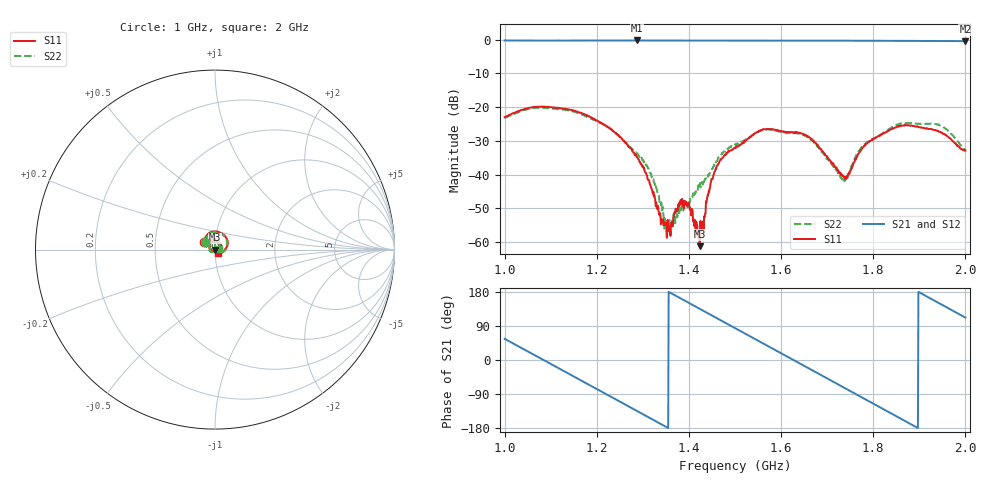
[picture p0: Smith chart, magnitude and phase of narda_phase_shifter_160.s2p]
#  HZ  S  DB  R  50.00
! Rohde & Schwarz Vector Network Analyzer
! Rohde-Schwarz,ZNB8-4Port,1311601044102961,2.82
! Created: UTC 3/4/2022, 4:07:57 PM
! freq[Hz]  db:S11  ang:S11  db:S21  ang:S21  db:S12  ang:S12  db:S22  ang:S22
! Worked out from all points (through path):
!   1001 points, 1 GHz to 2 GHz, reference 50 ohm
!   highest |S21| = -0.21 dB at 1.288 GHz (marker M1); lowest = -0.4 dB at 2 GHz (marker M2)
!   group delay of S21, straight-line fit = 1.84 ns
!   lowest |S11| = -61.3 dB at 1.423 GHz (marker M3), VSWR 1.00, Z = 50 - j0.0764 ohm
!   |S11| at or under -10 dB: start of sweep to end of sweep
!   |S22| runs from -57.0 to -20.1 dB; largest |S21 - S12| = 0.0025
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1e9  -22.96 145.9  -0.21 56.0  -0.20 56.0  -23.28 142.6
1.084e9  -19.82 88.0  -0.25 0.4  -0.23 0.4  -20.22 86.4
1.167e9  -21.83 29.5  -0.23 -54.6  -0.23 -54.6  -22.21 31.0
1.227e9  -26.21 -11.0  -0.22 -94.4  -0.21 -94.4  -26.13 -13.0
1.288e9  -34.93 -54.9  -0.21 -135.0  -0.22 -135.0  -33.71 -58.1
1.313e9  -41.62 -78.3  -0.23 -151.6  -0.21 -151.6  -38.21 -75.3
1.334e9  -50.94 -144.2  -0.23 -165.6  -0.21 -165.5  -45.82 -85.4
1.347e9  -54.75 145.8  -0.23 -174.2  -0.22 -174.2  -56.10 -97.9
1.358e9  -55.85 82.3  -0.23 178.5  -0.22 178.5  -53.21 -134.9
1.389e9  -50.07 -14.5  -0.23 157.9  -0.23 158.0  -48.94 -105.7
1.423e9  -61.26 -61.9  -0.23 135.3  -0.23 135.3  -43.62 -75.7
1.458e9  -38.29 -142.8  -0.23 112.1  -0.23 112.1  -36.81 -126.1
1.5e9  -32.10 177.0  -0.25 84.2  -0.25 84.2  -31.07 -159.3
1.543e9  -27.74 145.6  -0.25 55.7  -0.25 55.7  -27.93 163.5
1.59e9  -26.81 109.9  -0.27 24.5  -0.26 24.5  -26.98 135.6
1.667e9  -29.54 47.5  -0.27 -26.7  -0.27 -26.6  -29.77 91.4
1.738e9  -41.21 -76.4  -0.28 -73.9  -0.28 -73.8  -42.02 117.2
1.776e9  -32.25 -177.4  -0.29 -99.1  -0.29 -99.1  -31.74 165.7
1.834e9  -26.93 131.0  -0.32 -137.7  -0.31 -137.7  -26.54 137.1
1.913e9  -26.36 68.8  -0.36 169.8  -0.35 169.8  -24.99 86.7
1.955e9  -28.14 24.0  -0.38 141.9  -0.37 141.9  -26.14 61.5
2e9  -32.90 -48.5  -0.41 111.9  -0.41 111.9  -32.56 11.2
